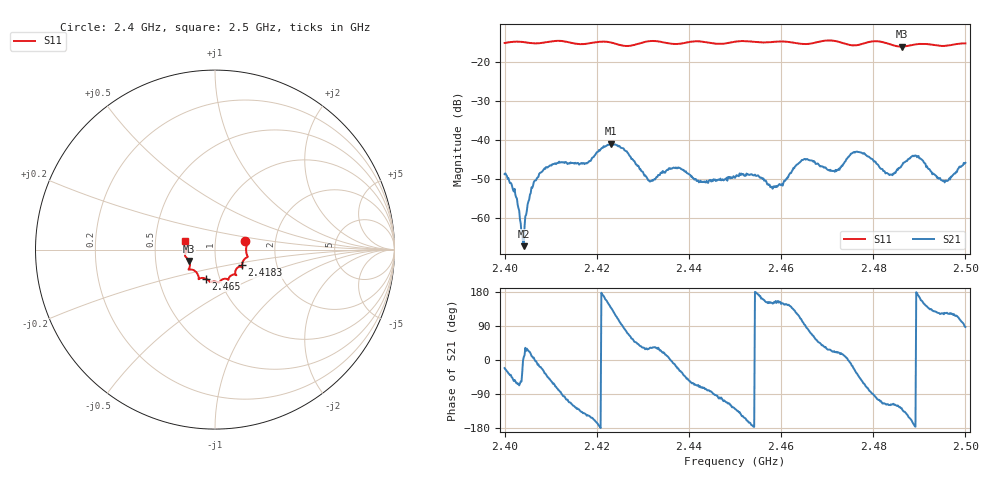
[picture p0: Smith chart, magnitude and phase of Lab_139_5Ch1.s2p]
# Hz S RI R 50
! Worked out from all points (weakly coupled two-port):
!   601 points, 2.4 GHz to 2.5 GHz, reference 50 ohm
!   highest |S21| = -41.03 dB at 2.4232 GHz (marker M1); lowest = -67.3 dB at 2.4042 GHz (marker M2)
!   lowest |S11| = -16.1 dB at 2.4862 GHz (marker M3), VSWR 1.37, Z = 37.2 - j4.83 ohm
!   |S11| at or under -10 dB: start of sweep to end of sweep
!   S12 and S22 are empty: the file has one direction only
!   S11 on the Smith chart (normalised r, x): 2.4 GHz: 1.40, +0.14; 2.4183 GHz: 1.33, -0.24; 2.465 GHz: 0.86, -0.28; 2.5 GHz: 0.71, +0.07
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2.4e9  0.1687 0.0471  0.00338 -0.00133  0 0  0 0
2.402167e9  0.1781 0.0365  0.00142 -0.00187  0 0  0 0
2.403667e9  0.1786 0.0296  0.000348 -0.000527  0 0  0 0
2.404167e9  0.178 0.0261  0.000427 6.17e-05  0 0  0 0
2.406e9  0.1735 0.00844  0.00239 0.000376  0 0  0 0
2.408e9  0.1745 -0.0157  0.00358 -0.00142  0 0  0 0
2.416667e9  0.1547 -0.0682  -0.00369 -0.00343  0 0  0 0
2.418333e9  0.1501 -0.0868  -0.00447 -0.00287  0 0  0 0
2.423167e9  0.1487 -0.0965  -0.00646 0.0061  0 0  0 0
2.431333e9  0.1175 -0.1423  0.0026 0.00148  0 0  0 0
2.433333e9  0.1173 -0.1409  0.00299 0.0019  0 0  0 0
2.45e9  0.026 -0.1799  -0.00204 -0.00253  0 0  0 0
2.458667e9  -0.0215 -0.1802  -0.00223 0.00121  0 0  0 0
2.465e9  -0.0524 -0.1614  -0.000389 0.00564  0 0  0 0
2.466667e9  -0.071 -0.1578  0.00204 0.00504  0 0  0 0
2.471833e9  -0.0907 -0.1615  0.00386 0.00143  0 0  0 0
2.476833e9  -0.1195 -0.1146  0.00513 -0.00473  0 0  0 0
2.483333e9  -0.141 -0.0966  -0.00175 -0.0032  0 0  0 0
2.486167e9  -0.1438 -0.0635  -0.00285 -0.00372  0 0  0 0
2.489333e9  -0.1638 -0.0394  -0.00622 0.00012  0 0  0 0
2.495667e9  -0.1605 0.012  -0.00166 0.00249  0 0  0 0
2.5e9  -0.1664 0.047  0.000254 0.00506  0 0  0 0
